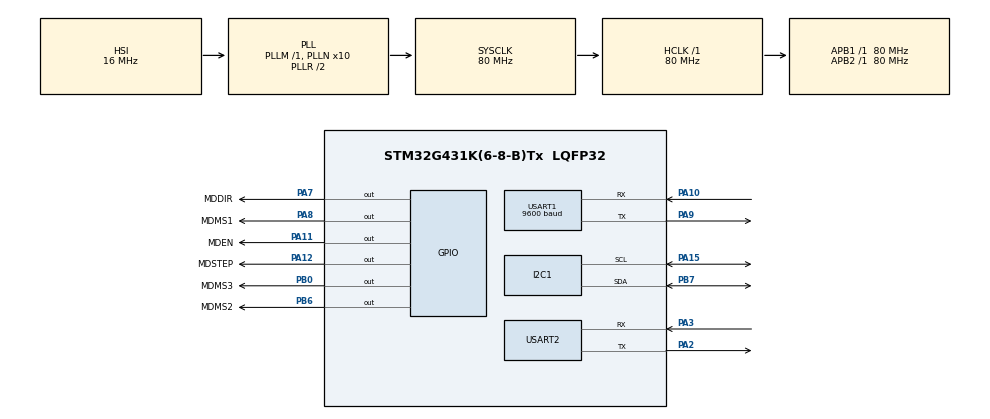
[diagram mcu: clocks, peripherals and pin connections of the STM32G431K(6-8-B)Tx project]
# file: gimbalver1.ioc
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I2C1.Timing=0x10D19CE4
Mcu.Family=STM32G4
Mcu.Name=STM32G431K(6-8-B)Tx
Mcu.Package=LQFP32
NVIC.PriorityGroup=NVIC_PRIORITYGROUP_4
NVIC.TIM4_IRQn=true\:0\:0\:true\:false\:true\:true\:true\:true
NVIC.TIM6_DAC_IRQn=true\:2\:0\:true\:false\:true\:true\:true\:true
NVIC.TIM7_IRQn=true\:1\:0\:true\:false\:true\:true\:true\:true
NVIC.USART1_IRQn=true\:0\:0\:false\:false\:true\:true\:true\:true
NVIC.USART2_IRQn=true\:0\:0\:false\:false\:true\:true\:true\:true
PA10.Mode=Asynchronous
PA10.Signal=USART1_RX
PA11.GPIO_Label=MDEN
PA11.Signal=GPIO_Output
PA12.GPIO_Label=MDSTEP
PA12.Signal=GPIO_Output
PA15.GPIO_Pu=GPIO_PULLUP
PA15.Mode=I2C
PA15.Signal=I2C1_SCL
PA2.Mode=Asynchronous
PA2.Signal=USART2_TX
PA3.Mode=Asynchronous
PA3.Signal=USART2_RX
PA7.GPIO_Label=MDDIR
PA7.Signal=GPIO_Output
PA8.GPIO_Label=MDMS1
PA8.Signal=GPIO_Output
PA9.Mode=Asynchronous
PA9.Signal=USART1_TX
PB0.GPIO_Label=MDMS3
PB0.PinState=GPIO_PIN_RESET
PB0.Signal=GPIO_Output
PB6.GPIO_Label=MDMS2
PB6.Signal=GPIO_Output
PB7.GPIO_Pu=GPIO_PULLUP
PB7.Mode=I2C
PB7.Signal=I2C1_SDA
ProjectManager.HeapSize=0x200
ProjectManager.StackSize=0x400
ProjectManager.TargetToolchain=STM32CubeIDE
RCC.ADC12Freq_Value=80000000
RCC.AHBFreq_Value=80000000
RCC.APB1Freq_Value=80000000
RCC.APB1TimFreq_Value=80000000
RCC.APB2Freq_Value=80000000
RCC.APB2TimFreq_Value=80000000
RCC.CortexFreq_Value=80000000
RCC.EXTERNAL_CLOCK_VALUE=12288000
RCC.HCLKFreq_Value=80000000
RCC.HSE_VALUE=8000000
RCC.HSI48_VALUE=48000000
RCC.HSI_VALUE=16000000
RCC.LSE_VALUE=32768
RCC.PLLN=10
RCC.SYSCLKFreq_VALUE=80000000
RCC.SYSCLKSource=RCC_SYSCLKSOURCE_PLLCLK
RCC.USBFreq_Value=80000000
RCC.VCOOutputFreq_Value=160000000
TIM4.PeriodNoDither=99
TIM4.Prescaler=7999
TIM6.PeriodNoDither=9
TIM6.Prescaler=7999
TIM7.PeriodNoDither=999
TIM7.Prescaler=7999
USART1.BaudRate=9600
USART1.VirtualMode-Asynchronous=VM_ASYNC
USART2.VirtualMode-Asynchronous=VM_ASYNC
VP_SYS_VS_DBSignals.Mode=DisableDeadBatterySignals
VP_TIM4_VS_ClockSourceINT.Mode=Internal
VP_TIM6_VS_ClockSourceINT.Mode=Enable_Timer
VP_TIM7_VS_ClockSourceINT.Mode=Enable_Timer
board=custom

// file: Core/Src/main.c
/* USER CODE BEGIN Header */
/**
  ******************************************************************************
  * @file           : main.c
  * @brief          : Main program body
  ******************************************************************************
  * @attention
  *
  * Copyright (c) 2025 STMicroelectronics.
  * All rights reserved.
  *
  * This software is licensed under terms that can be found in the LICENSE file
  * in the root directory of this software component.
  * If no LICENSE file comes with this software, it is provided AS-IS.
  *
  ******************************************************************************
  */
/* USER CODE END Header */
#include "main.h"

/* USER CODE BEGIN Includes */
#include <stdio.h>
#include <string.h>
#include "BNO055.h"
#include <stdlib.h>
/* USER CODE END Includes */

/* USER CODE BEGIN PD */
#define onepulse_motorangle 0.9

/* USER CODE END PD */

I2C_HandleTypeDef hi2c1;

TIM_HandleTypeDef htim4;
TIM_HandleTypeDef htim6;
TIM_HandleTypeDef htim7;

UART_HandleTypeDef huart1;
UART_HandleTypeDef huart2;

/* USER CODE BEGIN PV */
const uint8_t reset_buffer[] = "r\r\n";
char angle_buffer[100];

float Gyr_x;
float Gyr_y;
float Gyr_z;

float pre_z;
float now_z;
int bnoemergency = 0;

int stepState = 0; //0:reset 1:set
uint16_t stepInterval;
uint16_t mInterval;

float mangle = 0;
float tangle = 0;

int mdir = 1;
int ms = 1;
int tim7init = 0;
int stopState = 0;

uint8_t buffer[30];
char data[30];
int size = 1;
int datapos = 0;
char num_char[30];

float cangle = 0;

int state  =0;
/* USER CODE END PV */

void SystemClock_Config(void);
static void MX_GPIO_Init(void);
static void MX_I2C1_Init(void);
static void MX_USART2_UART_Init(void);
static void MX_TIM7_Init(void);
static void MX_TIM6_Init(void);
static void MX_TIM4_Init(void);
static void MX_USART1_UART_Init(void);

/* USER CODE BEGIN 0 */
void A4988_Initialize(){
	HAL_GPIO_WritePin(MDEN_GPIO_Port,MDEN_Pin,GPIO_PIN_RESET);
	HAL_GPIO_WritePin(MDMS1_GPIO_Port,MDMS1_Pin,GPIO_PIN_RESET);
	HAL_GPIO_WritePin(MDMS2_GPIO_Port,MDMS2_Pin,GPIO_PIN_RESET);
	HAL_GPIO_WritePin(MDMS3_GPIO_Port,MDMS3_Pin,GPIO_PIN_RESET);
}

void A4988_STEP(uint16_t interval){
	if(stopState == 0){
		return ;
	}
	if(stepState == 0){
		if(stepInterval != interval - 1){
			stepInterval = interval - 1;
			__HAL_TIM_SET_AUTORELOAD(&htim7, stepInterval);
		}
		HAL_GPIO_WritePin(MDSTEP_GPIO_Port,MDSTEP_Pin,GPIO_PIN_SET);
		stepState = 1;
	}else{
		HAL_GPIO_WritePin(MDSTEP_GPIO_Port,MDSTEP_Pin,GPIO_PIN_RESET);
		stepState = 0;
		mangle += onepulse_motorangle*mdir/ms;
		//printf("onepulse");
	}

}

void A4988_MSCHANGE(uint8_t MS) { // 1:0x00, 2:0x01, 4:0x02, 8:0x03, 16:0x07 のみ
    HAL_GPIO_WritePin(MDMS1_GPIO_Port, MDMS1_Pin, (MS & 0b001) ? GPIO_PIN_SET : GPIO_PIN_RESET);
    HAL_GPIO_WritePin(MDMS2_GPIO_Port, MDMS2_Pin, (MS & 0b010) ? GPIO_PIN_SET : GPIO_PIN_RESET);
    HAL_GPIO_WritePin(MDMS3_GPIO_Port, MDMS3_Pin, (MS & 0b100) ? GPIO_PIN_SET : GPIO_PIN_RESET);
}

void HAL_TIM_PeriodElapsedCallback(TIM_HandleTypeDef *htim){
	if(htim == &htim4){
        BNO055_ReadGyr(&Gyr_x, &Gyr_y, &Gyr_z);
        //printf("%f , %f , %f\r\n",Gyr_x,Gyr_y,Gyr_z); // @suppress("Float formatting support")
        if(Gyr_z == now_z){
        	bnoemergency++;
        }else{
        	bnoemergency = 0;
        }
        if(bnoemergency == 10){
        	HAL_UART_Transmit(&huart1,reset_buffer,sizeof(reset_buffer),0xFFFF);
        	HAL_NVIC_SystemReset();
        	bnoemergency = 0;
        }
        pre_z = now_z;
        now_z = Gyr_z;
        tangle += (now_z + Gyr_z) * 0.01 * 0.5;
        //printf("%f\r\n",tangle);
	}
    if(htim == &htim6){
        float diffangle = tangle - mangle;
        if((diffangle < (onepulse_motorangle/ms)*5) && (diffangle > -(onepulse_motorangle/ms)*5) ){
        	diffangle = 0;
        }
        int pulse = diffangle / (onepulse_motorangle / ms);
        //printf("%f\r\n",diffangle);

        if (pulse < 0) {
            mdir = -1;
            HAL_GPIO_WritePin(MDDIR_GPIO_Port, MDDIR_Pin, GPIO_PIN_SET);
            pulse = -pulse;
        } else if (pulse > 0) {
            mdir = 1;
            HAL_GPIO_WritePin(MDDIR_GPIO_Port, MDDIR_Pin, GPIO_PIN_RESET);
        }

        if (pulse > 0) {
            mInterval = 100 / pulse;
            stopState = 1;
        } else {
            mInterval = 100; // ゼロ除算防止
            stopState = 0;
        }
        if(mInterval < 34){
        	mInterval = 34;
        }

        if (tim7init == 0) {
            HAL_TIM_Base_Start_IT(&htim7);
            tim7init = 1;
        }
        //printf("%f,%f\r\n",tangle,mangle);
    }

    if(htim == &htim7){
    	//printf("tim7");
        A4988_STEP(mInterval);
    }
}

void HAL_UART_RxCpltCallback(UART_HandleTypeDef *huart){
	//printf("receive\r\n");
	//printf("%d\r\n",buffer[0]);

	if(buffer[0] == 13){
		//printf("ok\r\n");
		if(data[0] == 97){
			for(int i=0;i<datapos-1;i++){
				num_char[i] = data[i+1];
			}
			num_char[datapos-1] = '\0';
			cangle = strtof(num_char, NULL);
			mangle = cangle;
			//printf("%f\r\n",cangle);
		}
		for(int i =0;i < datapos;i++){
			//printf("%d\r\n",data[i]);
			//printf("i:%d,data:%d\r\n",i,data[i]);

			data[i] = 0;
		}
		datapos = -1;
	}else{
		data[datapos] = buffer[0];
		//printf("%d\r\n",data[datapos]);
		datapos++;
	}
	HAL_UART_Receive_IT(&huart1, buffer, 1);
}

void HAL_UART_ErrorCallback(UART_HandleTypeDef *huart){
	printf("uart_error\r\n");
	HAL_UART_Abort(huart);
	HAL_UART_Receive_IT(&huart1, buffer, size);
}

int _write(int file, char *ptr, int len)
{
  HAL_UART_Transmit(&huart2,(uint8_t *)ptr,len,10);
  return len;
}
/* USER CODE END 0 */

int main(void)
{

  /* USER CODE BEGIN 1 */
	setbuf(stdout, NULL);
  /* USER CODE END 1 */

  /* MCU Configuration--------------------------------------------------------*/

  /* Reset of all peripherals, Initializes the Flash interface and the Systick. */
  HAL_Init();

  /* Configure the system clock */
  SystemClock_Config();

  /* Initialize all configured peripherals */
  MX_GPIO_Init();
  MX_I2C1_Init();
  MX_USART2_UART_Init();
  MX_TIM7_Init();
  MX_TIM6_Init();
  MX_TIM4_Init();
  MX_USART1_UART_Init();
  /* USER CODE BEGIN 2 */
  if(BNO055_Initialize_Fusion() == false){
    	  printf("false");
      }else{
    	  printf("Ok");
      }
  HAL_TIM_Base_Start_IT(&htim6);
  HAL_TIM_Base_Start_IT(&htim4);
  A4988_Initialize();
  HAL_UART_Transmit(&huart1,reset_buffer,sizeof(reset_buffer),0xFFFF);
  HAL_UART_Receive_IT(&huart1, buffer, 1);
  //A4988_MSCHANGE(0x07);
  //HAL_GPIO_WritePin(MDDIR_GPIO_Port, MDDIR_Pin, GPIO_PIN_RESET);
  /* USER CODE END 2 */

  /* Infinite loop */
  while (1)
  {

    /* USER CODE BEGIN 3 */

//	  HAL_GPIO_WritePin(MDSTEP_GPIO_Port,MDSTEP_Pin,GPIO_PIN_SET);
//	  HAL_Delay(200);
//	  HAL_GPIO_WritePin(MDSTEP_GPIO_Port,MDSTEP_Pin,GPIO_PIN_RESET);
//	  //HAL_GPIO_TogglePin(MDDIR_GPIO_Port, MDDIR_Pin);
//	  HAL_Delay(200);
//	  printf("HEllo\r\n");
	  sprintf(angle_buffer, "a%f\r\n", tangle);
	  HAL_UART_Transmit(&huart1, (uint8_t*)angle_buffer, strlen(angle_buffer), 0xFFFF);
//	  printf("a:%f\r\n",tangle);
//	  if(state == 100){
//		  printf("reset\r\n");
//		  HAL_NVIC_SystemReset();
//	  }else{
//		  state++;
//	  }
	  HAL_Delay(100);
  }
  /* USER CODE END 3 */
}

void SystemClock_Config(void)
{
  RCC_OscInitTypeDef RCC_OscInitStruct = {0};
  RCC_ClkInitTypeDef RCC_ClkInitStruct = {0};

  /** Configure the main internal regulator output voltage
  */
  HAL_PWREx_ControlVoltageScaling(PWR_REGULATOR_VOLTAGE_SCALE1);

  /** Initializes the RCC Oscillators according to the specified parameters
  * in the RCC_OscInitTypeDef structure.
  */
  RCC_OscInitStruct.OscillatorType = RCC_OSCILLATORTYPE_HSI;
  RCC_OscInitStruct.HSIState = RCC_HSI_ON;
  RCC_OscInitStruct.HSICalibrationValue = RCC_HSICALIBRATION_DEFAULT;
  RCC_OscInitStruct.PLL.PLLState = RCC_PLL_ON;
  RCC_OscInitStruct.PLL.PLLSource = RCC_PLLSOURCE_HSI;
  RCC_OscInitStruct.PLL.PLLM = RCC_PLLM_DIV1;
  RCC_OscInitStruct.PLL.PLLN = 10;
  RCC_OscInitStruct.PLL.PLLP = RCC_PLLP_DIV2;
  RCC_OscInitStruct.PLL.PLLQ = RCC_PLLQ_DIV2;
  RCC_OscInitStruct.PLL.PLLR = RCC_PLLR_DIV2;
  if (HAL_RCC_OscConfig(&RCC_OscInitStruct) != HAL_OK)
  {
    Error_Handler();
  }

  /** Initializes the CPU, AHB and APB buses clocks
  */
  RCC_ClkInitStruct.ClockType = RCC_CLOCKTYPE_HCLK|RCC_CLOCKTYPE_SYSCLK
                              |RCC_CLOCKTYPE_PCLK1|RCC_CLOCKTYPE_PCLK2;
  RCC_ClkInitStruct.SYSCLKSource = RCC_SYSCLKSOURCE_PLLCLK;
  RCC_ClkInitStruct.AHBCLKDivider = RCC_SYSCLK_DIV1;
  RCC_ClkInitStruct.APB1CLKDivider = RCC_HCLK_DIV1;
  RCC_ClkInitStruct.APB2CLKDivider = RCC_HCLK_DIV1;

  if (HAL_RCC_ClockConfig(&RCC_ClkInitStruct, FLASH_LATENCY_2) != HAL_OK)
  {
    Error_Handler();
  }
}

static void MX_I2C1_Init(void)
{

  hi2c1.Instance = I2C1;
  hi2c1.Init.Timing = 0x10D19CE4;
  hi2c1.Init.OwnAddress1 = 0;
  hi2c1.Init.AddressingMode = I2C_ADDRESSINGMODE_7BIT;
  hi2c1.Init.DualAddressMode = I2C_DUALADDRESS_DISABLE;
  hi2c1.Init.OwnAddress2 = 0;
  hi2c1.Init.OwnAddress2Masks = I2C_OA2_NOMASK;
  hi2c1.Init.GeneralCallMode = I2C_GENERALCALL_DISABLE;
  hi2c1.Init.NoStretchMode = I2C_NOSTRETCH_DISABLE;
  if (HAL_I2C_Init(&hi2c1) != HAL_OK)
  {
    Error_Handler();
  }

  /** Configure Analogue filter
  */
  if (HAL_I2CEx_ConfigAnalogFilter(&hi2c1, I2C_ANALOGFILTER_ENABLE) != HAL_OK)
  {
    Error_Handler();
  }

  /** Configure Digital filter
  */
  if (HAL_I2CEx_ConfigDigitalFilter(&hi2c1, 0) != HAL_OK)
  {
    Error_Handler();
  }

}

static void MX_TIM4_Init(void)
{

  TIM_ClockConfigTypeDef sClockSourceConfig = {0};
  TIM_MasterConfigTypeDef sMasterConfig = {0};

  htim4.Instance = TIM4;
  htim4.Init.Prescaler = 7999;
  htim4.Init.CounterMode = TIM_COUNTERMODE_UP;
  htim4.Init.Period = 99;
  htim4.Init.ClockDivision = TIM_CLOCKDIVISION_DIV1;
  htim4.Init.AutoReloadPreload = TIM_AUTORELOAD_PRELOAD_DISABLE;
  if (HAL_TIM_Base_Init(&htim4) != HAL_OK)
  {
    Error_Handler();
  }
  sClockSourceConfig.ClockSource = TIM_CLOCKSOURCE_INTERNAL;
  if (HAL_TIM_ConfigClockSource(&htim4, &sClockSourceConfig) != HAL_OK)
  {
    Error_Handler();
  }
  sMasterConfig.MasterOutputTrigger = TIM_TRGO_RESET;
  sMasterConfig.MasterSlaveMode = TIM_MASTERSLAVEMODE_DISABLE;
  if (HAL_TIMEx_MasterConfigSynchronization(&htim4, &sMasterConfig) != HAL_OK)
  {
    Error_Handler();
  }

}

static void MX_TIM6_Init(void)
{

  TIM_MasterConfigTypeDef sMasterConfig = {0};

  htim6.Instance = TIM6;
  htim6.Init.Prescaler = 7999;
  htim6.Init.CounterMode = TIM_COUNTERMODE_UP;
  htim6.Init.Period = 9;
  htim6.Init.AutoReloadPreload = TIM_AUTORELOAD_PRELOAD_DISABLE;
  if (HAL_TIM_Base_Init(&htim6) != HAL_OK)
  {
    Error_Handler();
  }
  sMasterConfig.MasterOutputTrigger = TIM_TRGO_RESET;
  sMasterConfig.MasterSlaveMode = TIM_MASTERSLAVEMODE_DISABLE;
  if (HAL_TIMEx_MasterConfigSynchronization(&htim6, &sMasterConfig) != HAL_OK)
  {
    Error_Handler();
  }

}

static void MX_TIM7_Init(void)
{

  TIM_MasterConfigTypeDef sMasterConfig = {0};

  htim7.Instance = TIM7;
  htim7.Init.Prescaler = 7999;
  htim7.Init.CounterMode = TIM_COUNTERMODE_UP;
  htim7.Init.Period = 999;
  htim7.Init.AutoReloadPreload = TIM_AUTORELOAD_PRELOAD_DISABLE;
  if (HAL_TIM_Base_Init(&htim7) != HAL_OK)
  {
    Error_Handler();
  }
  sMasterConfig.MasterOutputTrigger = TIM_TRGO_RESET;
  sMasterConfig.MasterSlaveMode = TIM_MASTERSLAVEMODE_DISABLE;
  if (HAL_TIMEx_MasterConfigSynchronization(&htim7, &sMasterConfig) != HAL_OK)
  {
    Error_Handler();
  }
  /* USER CODE BEGIN TIM7_Init 2 */
  htim7.Init.Period = stepInterval;
  /* USER CODE END TIM7_Init 2 */

}

static void MX_USART1_UART_Init(void)
{

  huart1.Instance = USART1;
  huart1.Init.BaudRate = 9600;
  huart1.Init.WordLength = UART_WORDLENGTH_8B;
  huart1.Init.StopBits = UART_STOPBITS_1;
  huart1.Init.Parity = UART_PARITY_NONE;
  huart1.Init.Mode = UART_MODE_TX_RX;
  huart1.Init.HwFlowCtl = UART_HWCONTROL_NONE;
  huart1.Init.OverSampling = UART_OVERSAMPLING_16;
  huart1.Init.OneBitSampling = UART_ONE_BIT_SAMPLE_DISABLE;
  huart1.Init.ClockPrescaler = UART_PRESCALER_DIV1;
  huart1.AdvancedInit.AdvFeatureInit = UART_ADVFEATURE_NO_INIT;
  if (HAL_UART_Init(&huart1) != HAL_OK)
  {
    Error_Handler();
  }
  if (HAL_UARTEx_SetTxFifoThreshold(&huart1, UART_TXFIFO_THRESHOLD_1_8) != HAL_OK)
  {
    Error_Handler();
  }
  if (HAL_UARTEx_SetRxFifoThreshold(&huart1, UART_RXFIFO_THRESHOLD_1_8) != HAL_OK)
  {
    Error_Handler();
  }
  if (HAL_UARTEx_DisableFifoMode(&huart1) != HAL_OK)
  {
    Error_Handler();
  }

}

static void MX_USART2_UART_Init(void)
{

  huart2.Instance = USART2;
  huart2.Init.BaudRate = 115200;
  huart2.Init.WordLength = UART_WORDLENGTH_8B;
  huart2.Init.StopBits = UART_STOPBITS_1;
  huart2.Init.Parity = UART_PARITY_NONE;
  huart2.Init.Mode = UART_MODE_TX_RX;
  huart2.Init.HwFlowCtl = UART_HWCONTROL_NONE;
  huart2.Init.OverSampling = UART_OVERSAMPLING_16;
  huart2.Init.OneBitSampling = UART_ONE_BIT_SAMPLE_DISABLE;
  huart2.Init.ClockPrescaler = UART_PRESCALER_DIV1;
  huart2.AdvancedInit.AdvFeatureInit = UART_ADVFEATURE_NO_INIT;
  if (HAL_UART_Init(&huart2) != HAL_OK)
  {
    Error_Handler();
  }
  if (HAL_UARTEx_SetTxFifoThreshold(&huart2, UART_TXFIFO_THRESHOLD_1_8) != HAL_OK)
  {
    Error_Handler();
  }
  if (HAL_UARTEx_SetRxFifoThreshold(&huart2, UART_RXFIFO_THRESHOLD_1_8) != HAL_OK)
  {
    Error_Handler();
  }
  if (HAL_UARTEx_DisableFifoMode(&huart2) != HAL_OK)
  {
    Error_Handler();
  }

}

static void MX_GPIO_Init(void)
{
  GPIO_InitTypeDef GPIO_InitStruct = {0};

  /* GPIO Ports Clock Enable */
  __HAL_RCC_GPIOA_CLK_ENABLE();
  __HAL_RCC_GPIOB_CLK_ENABLE();

  /*Configure GPIO pin Output Level */
  HAL_GPIO_WritePin(GPIOA, MDDIR_Pin|MDMS1_Pin|MDEN_Pin|MDSTEP_Pin, GPIO_PIN_RESET);

  /*Configure GPIO pin Output Level */
  HAL_GPIO_WritePin(GPIOB, MDMS3_Pin|MDMS2_Pin, GPIO_PIN_RESET);

  /*Configure GPIO pins : MDDIR_Pin MDMS1_Pin MDEN_Pin MDSTEP_Pin */
  GPIO_InitStruct.Pin = MDDIR_Pin|MDMS1_Pin|MDEN_Pin|MDSTEP_Pin;
  GPIO_InitStruct.Mode = GPIO_MODE_OUTPUT_PP;
  GPIO_InitStruct.Pull = GPIO_NOPULL;
  GPIO_InitStruct.Speed = GPIO_SPEED_FREQ_LOW;
  HAL_GPIO_Init(GPIOA, &GPIO_InitStruct);

  /*Configure GPIO pins : MDMS3_Pin MDMS2_Pin */
  GPIO_InitStruct.Pin = MDMS3_Pin|MDMS2_Pin;
  GPIO_InitStruct.Mode = GPIO_MODE_OUTPUT_PP;
  GPIO_InitStruct.Pull = GPIO_NOPULL;
  GPIO_InitStruct.Speed = GPIO_SPEED_FREQ_LOW;
  HAL_GPIO_Init(GPIOB, &GPIO_InitStruct);

}

void Error_Handler(void)
{
  /* USER CODE BEGIN Error_Handler_Debug */
  /* User can add his own implementation to report the HAL error return state */
  __disable_irq();
  while (1)
  {
	  printf("Error\r\n");
  }
  /* USER CODE END Error_Handler_Debug */
}
